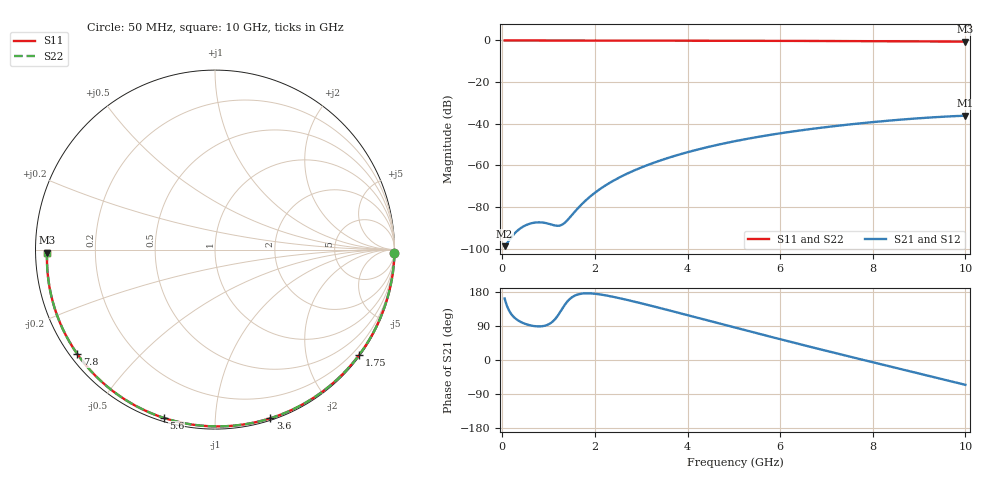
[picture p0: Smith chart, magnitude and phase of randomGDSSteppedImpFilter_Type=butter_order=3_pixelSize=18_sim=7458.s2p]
! freq	dB(S11)	phase(S11)	dB(S12)	phase(S12)
!  dB(S21)	phase(S21)	dB(S22)	phase(S22)
!S-par simulation data
#  GHz  S  DB  R 50
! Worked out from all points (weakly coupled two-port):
!   200 points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, 50 MHz to 10 GHz, reference 50 ohm
!   highest |S21| = -36.11 dB at 10 GHz (marker M1); lowest = -98.8 dB at 50 MHz (marker M2)
!   lowest |S11| = -0.6 dB at 10 GHz (marker M3), VSWR 30.14, Z = 1.66 - j0.433 ohm
!   |S11| at or under -10 dB: nowhere
!   |S22| runs from -0.6 to 0.0 dB; largest |S21 - S12| = 0
!   S11 on the Smith chart (normalised r, x): 50 MHz: open; 1.75 GHz: 0.03, -3.07; 3.6 GHz: 0.02, -1.38; 5.6 GHz: 0.02, -0.74; 7.8 GHz: 0.02, -0.34; 10 GHz: 0.03, -0.01
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0.05  -0.00 -1.1  -98.78 162.4  -98.78 162.4  -0.00 -1.1
0.4  -0.01 -8.4  -90.08 100.3  -90.08 100.3  -0.01 -8.4
0.8  -0.02 -16.7  -87.33 88.7  -87.33 88.7  -0.02 -16.7
1.2  -0.03 -24.9  -89.01 117.3  -89.01 117.3  -0.03 -24.9
1.65  -0.04 -34.1  -80.16 173.6  -80.16 173.6  -0.04 -34.1
1.75  -0.05 -36.1  -77.89 175.6  -77.89 175.6  -0.05 -36.1
1.9  -0.05 -39.1  -74.90 175.8  -74.90 175.8  -0.05 -39.1
2.05  -0.05 -42.1  -72.30 174.1  -72.30 174.1  -0.05 -42.1
2.25  -0.06 -46.1  -69.31 170.2  -69.31 170.2  -0.06 -46.0
2.45  -0.06 -50.0  -66.72 165.3  -66.72 165.3  -0.06 -50.0
2.9  -0.08 -58.7  -61.93 152.6  -61.93 152.6  -0.08 -58.7
3.4  -0.09 -68.1  -57.71 137.3  -57.71 137.3  -0.09 -68.1
3.6  -0.10 -71.8  -56.26 131.1  -56.26 131.1  -0.10 -71.8
4.3  -0.12 -84.5  -51.93 108.8  -51.93 108.8  -0.12 -84.5
5.05  -0.15 -97.7  -48.25 84.9  -48.25 84.9  -0.15 -97.6
5.6  -0.18 -107.0  -46.02 67.4  -46.02 67.4  -0.18 -107.0
6.15  -0.21 -116.2  -44.09 50.2  -44.09 50.2  -0.21 -116.1
6.7  -0.24 -125.2  -42.42 33.3  -42.42 33.3  -0.24 -125.1
7.8  -0.33 -142.9  -39.64 0.1  -39.64 0.1  -0.33 -142.9
8.35  -0.38 -151.8  -38.49 -16.4  -38.49 -16.4  -0.38 -151.7
9.2  -0.47 -165.6  -37.05 -41.7  -37.05 -41.7  -0.47 -165.6
10  -0.58 -179.0  -36.11 -65.5  -36.11 -65.5  -0.58 -179.0
